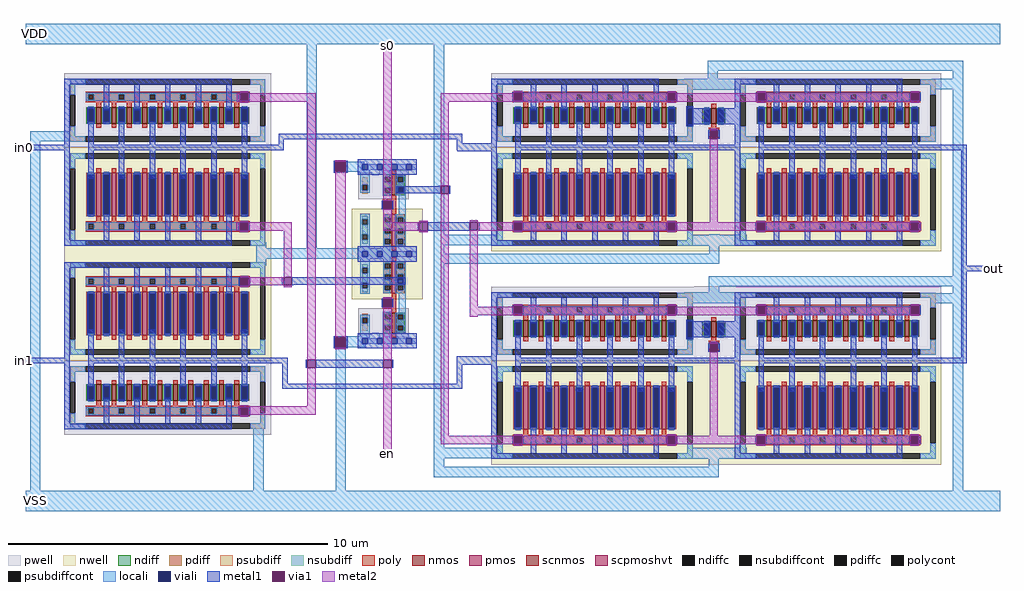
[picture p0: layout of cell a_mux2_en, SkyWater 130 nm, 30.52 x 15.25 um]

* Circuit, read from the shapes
.subckt a_mux2_en en s0 in0 in1 out VDD VSS
XM1 in1 en switch_5t_mux2_0/in VSS sky130_fd_pr__nfet_01v8 w=0.52 l=0.15 m=10
XM2 in0 en switch_5t_mux2_1/in VSS sky130_fd_pr__nfet_01v8 w=0.52 l=0.15 m=10
XM3 sky130_fd_sc_hd__inv_1_0/Y en VSS VSS sky130_fd_pr__nfet_01v8 w=0.65 l=0.15
XM4 sky130_fd_sc_hd__inv_1_1/Y s0 VSS VSS sky130_fd_pr__nfet_01v8 w=0.65 l=0.15
XM5 switch_5t_mux2_0/in s0 switch_5t_mux2_0/transmission_gate_1/in VSS sky130_fd_pr__nfet_01v8 w=0.52 l=0.15 m=10
XM6 switch_5t_mux2_1/in sky130_fd_sc_hd__inv_1_1/Y switch_5t_mux2_1/transmission_gate_1/in VSS sky130_fd_pr__nfet_01v8 w=0.52 l=0.15 m=10
XM7 switch_5t_mux2_0/transmission_gate_1/in sky130_fd_sc_hd__inv_1_1/Y VSS VSS sky130_fd_pr__nfet_01v8 w=0.5 l=0.15
XM8 switch_5t_mux2_1/transmission_gate_1/in s0 VSS VSS sky130_fd_pr__nfet_01v8 w=0.5 l=0.15
XM9 switch_5t_mux2_0/transmission_gate_1/in s0 out VSS sky130_fd_pr__nfet_01v8 w=0.52 l=0.15 m=10
XM10 switch_5t_mux2_1/transmission_gate_1/in sky130_fd_sc_hd__inv_1_1/Y out VSS sky130_fd_pr__nfet_01v8 w=0.52 l=0.15 m=10
XM11 in1 sky130_fd_sc_hd__inv_1_0/Y switch_5t_mux2_0/in VDD sky130_fd_pr__pfet_01v8 w=1.36 l=0.15 m=10
XM12 in0 sky130_fd_sc_hd__inv_1_0/Y switch_5t_mux2_1/in VDD sky130_fd_pr__pfet_01v8 w=1.36 l=0.15 m=10
XM13 sky130_fd_sc_hd__inv_1_0/Y en VDD VDD sky130_fd_pr__pfet_01v8_hvt w=1 l=0.15
XM14 sky130_fd_sc_hd__inv_1_1/Y s0 VDD VDD sky130_fd_pr__pfet_01v8_hvt w=1 l=0.15
XM15 switch_5t_mux2_0/in sky130_fd_sc_hd__inv_1_1/Y switch_5t_mux2_0/transmission_gate_1/in VDD sky130_fd_pr__pfet_01v8 w=1.36 l=0.15 m=10
XM16 switch_5t_mux2_1/in s0 switch_5t_mux2_1/transmission_gate_1/in VDD sky130_fd_pr__pfet_01v8 w=1.36 l=0.15 m=10
XM17 switch_5t_mux2_0/transmission_gate_1/in sky130_fd_sc_hd__inv_1_1/Y out VDD sky130_fd_pr__pfet_01v8 w=1.36 l=0.15 m=10
XM18 switch_5t_mux2_1/transmission_gate_1/in s0 out VDD sky130_fd_pr__pfet_01v8 w=1.36 l=0.15 m=10
.ends

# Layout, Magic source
magic
tech sky130A
magscale 1 2
<< nwell >>
rect -2386 -1234 -1092 -1157
<< pwell >>
rect -528 -702 -409 -700
rect -548 -855 -231 -702
rect -548 -1692 -405 -1537
rect -548 -1693 -429 -1692
<< locali >>
rect -2626 115 3466 243
rect -2599 -493 -2335 -429
rect -2599 -2678 -2535 -493
rect -1186 -1162 -1122 -1123
rect -870 -1162 -806 115
rect -626 -684 -510 -620
rect -74 -1077 -10 115
rect 1637 -51 3236 13
rect 1637 -169 1701 -51
rect 3172 -102 3236 -51
rect 3038 -166 3236 -102
rect -74 -1141 348 -1077
rect -1186 -1226 -371 -1162
rect -74 -1195 -10 -1141
rect 1647 -1195 1711 -1074
rect -1186 -1269 -1122 -1226
rect -74 -1259 1711 -1195
rect -697 -1718 -501 -1710
rect -697 -1779 -690 -1718
rect -626 -1779 -501 -1718
rect -626 -1782 -625 -1779
rect -1204 -2678 -1140 -2268
rect -689 -2678 -625 -1782
rect -74 -2410 -10 -1259
rect 3172 -1336 3236 -166
rect 1645 -1400 3236 -1336
rect 1645 -1488 1709 -1400
rect 3172 -1442 3236 -1400
rect 3034 -1506 3236 -1442
rect -74 -2474 334 -2410
rect -74 -2529 -10 -2474
rect 1643 -2529 1707 -2423
rect -74 -2593 1707 -2529
rect 3172 -2678 3236 -1506
rect -2626 -2806 3466 -2678
<< viali >>
rect -1276 -231 -1242 -197
rect -1276 -1042 -1242 -1008
rect -690 -684 -626 -620
rect -298 -812 -264 -778
rect -381 -907 -347 -873
rect -1276 -1386 -1242 -1352
rect -299 -1382 -265 -1348
rect -382 -1520 -348 -1486
rect -690 -1782 -626 -1718
rect -1276 -2197 -1242 -2163
<< metal1 >>
rect -1297 -240 -1287 -188
rect -1235 -240 -1225 -188
rect -1046 -479 104 -445
rect -1046 -513 -1012 -479
rect -2638 -547 -2375 -513
rect -1271 -547 -1012 -513
rect 70 -503 104 -479
rect 70 -547 296 -503
rect 3055 -547 3258 -513
rect 71 -555 296 -547
rect -702 -620 -614 -614
rect -702 -684 -690 -620
rect -626 -684 -614 -620
rect -702 -690 -614 -684
rect -528 -700 -522 -604
rect -43 -772 -33 -769
rect -310 -778 -33 -772
rect -310 -812 -298 -778
rect -264 -812 -33 -778
rect -310 -818 -33 -812
rect -43 -821 -33 -818
rect 19 -821 29 -769
rect -401 -917 -391 -865
rect -339 -917 -329 -865
rect 139 -1000 149 -997
rect -1298 -1052 -1288 -1000
rect -1236 -1052 -1226 -1000
rect -176 -1052 -166 -1000
rect -114 -1049 149 -1000
rect 201 -1049 211 -997
rect -114 -1052 198 -1049
rect 3224 -1270 3258 -547
rect 3224 -1304 3429 -1270
rect -1295 -1395 -1285 -1343
rect -1233 -1395 -1223 -1343
rect -1025 -1394 -1015 -1342
rect -963 -1348 -253 -1342
rect -963 -1382 -299 -1348
rect -265 -1382 -253 -1348
rect -963 -1388 -253 -1382
rect -963 -1394 -953 -1388
rect -401 -1530 -391 -1478
rect -339 -1530 -329 -1478
rect -702 -1718 -614 -1712
rect -702 -1782 -690 -1718
rect -626 -1782 -614 -1718
rect -702 -1788 -614 -1782
rect -2638 -1881 -2375 -1847
rect -1272 -1881 -989 -1847
rect -1023 -2007 -989 -1881
rect -875 -1910 -865 -1858
rect -813 -1910 -390 -1858
rect -338 -1910 -328 -1858
rect 69 -1889 303 -1837
rect 3224 -1847 3258 -1304
rect 3052 -1881 3258 -1847
rect 69 -2007 103 -1889
rect -1023 -2041 103 -2007
rect -1296 -2206 -1286 -2154
rect -1234 -2206 -1224 -2154
<< via1 >>
rect -1287 -197 -1235 -188
rect -1287 -231 -1276 -197
rect -1276 -231 -1242 -197
rect -1242 -231 -1235 -197
rect -1287 -240 -1235 -231
rect -690 -684 -626 -620
rect -33 -821 19 -769
rect -391 -873 -339 -865
rect -391 -907 -381 -873
rect -381 -907 -347 -873
rect -347 -907 -339 -873
rect -391 -917 -339 -907
rect -1288 -1008 -1236 -1000
rect -1288 -1042 -1276 -1008
rect -1276 -1042 -1242 -1008
rect -1242 -1042 -1236 -1008
rect -1288 -1052 -1236 -1042
rect -166 -1052 -114 -1000
rect 149 -1049 201 -997
rect -1285 -1352 -1233 -1343
rect -1285 -1386 -1276 -1352
rect -1276 -1386 -1242 -1352
rect -1242 -1386 -1233 -1352
rect -1285 -1395 -1233 -1386
rect -1015 -1394 -963 -1342
rect -391 -1486 -339 -1478
rect -391 -1520 -382 -1486
rect -382 -1520 -348 -1486
rect -348 -1520 -339 -1486
rect -391 -1530 -339 -1520
rect -690 -1782 -626 -1718
rect -865 -1910 -813 -1858
rect -390 -1910 -338 -1858
rect -1286 -2163 -1234 -2154
rect -1286 -2197 -1276 -2163
rect -1276 -2197 -1242 -2163
rect -1242 -2197 -1234 -2163
rect -1286 -2206 -1234 -2197
<< metal2 >>
rect -1287 -188 -1235 -178
rect -1306 -240 -1287 -192
rect -1235 -240 -813 -192
rect -1306 -244 -813 -240
rect -1287 -250 -1235 -244
rect -1288 -1000 -1236 -990
rect -1312 -1052 -1288 -1000
rect -1236 -1052 -963 -1000
rect -1288 -1062 -1236 -1052
rect -1285 -1342 -1233 -1333
rect -1015 -1342 -963 -1052
rect -1285 -1343 -1015 -1342
rect -1233 -1394 -1015 -1343
rect -1285 -1405 -1233 -1395
rect -1015 -1404 -963 -1394
rect -865 -1858 -813 -244
rect -690 -620 -626 -610
rect -690 -1718 -626 -684
rect -391 -865 -339 115
rect -391 -1000 -339 -917
rect -33 -245 261 -193
rect -33 -769 19 -245
rect -166 -1000 -114 -990
rect -391 -1052 -166 -1000
rect -166 -1062 -114 -1052
rect -690 -1792 -626 -1782
rect -391 -1478 -339 -1468
rect -1286 -2149 -1234 -2144
rect -865 -2149 -813 -1910
rect -1297 -2154 -813 -2149
rect -1297 -2201 -1286 -2154
rect -1234 -2201 -813 -2154
rect -391 -1848 -339 -1530
rect -391 -1858 -338 -1848
rect -391 -1910 -390 -1858
rect -391 -1920 -338 -1910
rect -1286 -2216 -1234 -2206
rect -391 -2457 -339 -1920
rect -33 -2334 19 -821
rect 149 -997 201 -987
rect 201 -1049 259 -1000
rect 149 -1052 259 -1049
rect 149 -1527 201 -1052
rect 149 -1579 305 -1527
rect 149 -1589 201 -1579
rect -33 -2386 261 -2334
use sky130_fd_sc_hd__inv_1  sky130_fd_sc_hd__inv_1_0 $PDKPATH/libs.ref/sky130_fd_sc_hd/mag
transform 1 0 -459 0 1 -1740
box -38 -48 314 592
use sky130_fd_sc_hd__inv_1  sky130_fd_sc_hd__inv_1_1
transform 1 0 -459 0 -1 -652
box -38 -48 314 592
use sky130_fd_sc_hd__tapvpwrvgnd_1  sky130_fd_sc_hd__tapvpwrvgnd_1_0 $PDKPATH/libs.ref/sky130_fd_sc_hd/mag
transform 1 0 -551 0 1 -1740
box -38 -48 130 592
use sky130_fd_sc_hd__tapvpwrvgnd_1  sky130_fd_sc_hd__tapvpwrvgnd_1_1
transform -1 0 -459 0 -1 -652
box -38 -48 130 592
use switch_5t_mux2  switch_5t_mux2_0
transform 1 0 123 0 -1 -1396
box 92 4 2977 1118
use switch_5t_mux2  switch_5t_mux2_1
transform 1 0 123 0 -1 -62
box 92 4 2977 1118
use transmission_gate  transmission_gate_0 ~/ee372/incremental_delta_sigma_adc/design/analog_modulator/layout_v2/transmission_gate
transform 1 0 -2333 0 -1 -117
box -53 -49 1241 1063
use transmission_gate  transmission_gate_1
transform 1 0 -2333 0 1 -2277
box -53 -49 1241 1063
<< labels >>
flabel metal1 -2635 -530 -2635 -530 3 FreeSans 400 0 0 0 in0
port 3 e
flabel metal1 -2634 -1864 -2634 -1864 3 FreeSans 400 0 0 0 in1
port 4 e
flabel metal2 -365 -2445 -365 -2445 1 FreeSans 400 0 0 0 en
port 1 n
flabel metal1 3423 -1288 3423 -1288 1 FreeSans 400 0 0 0 out
port 5 n
flabel metal2 -366 110 -366 110 5 FreeSans 400 0 0 0 s0
port 2 s
flabel locali -2575 182 -2575 182 1 FreeSans 400 0 0 0 VDD
port 6 n power bidirectional
flabel locali -2569 -2738 -2569 -2738 1 FreeSans 400 0 0 0 VSS
port 7 n power bidirectional
<< end >>

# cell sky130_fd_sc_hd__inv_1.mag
magic
tech sky130A
magscale 1 2
<< nwell >>
rect -38 261 314 582
<< pwell >>
rect 42 21 228 203
rect 42 17 63 21
rect 29 -17 63 17
<< scnmos >>
rect 120 47 150 177
<< scpmoshvt >>
rect 120 297 150 497
<< ndiff >>
rect 68 165 120 177
rect 68 131 76 165
rect 110 131 120 165
rect 68 97 120 131
rect 68 63 76 97
rect 110 63 120 97
rect 68 47 120 63
rect 150 165 202 177
rect 150 131 160 165
rect 194 131 202 165
rect 150 97 202 131
rect 150 63 160 97
rect 194 63 202 97
rect 150 47 202 63
<< pdiff >>
rect 68 485 120 497
rect 68 451 76 485
rect 110 451 120 485
rect 68 417 120 451
rect 68 383 76 417
rect 110 383 120 417
rect 68 349 120 383
rect 68 315 76 349
rect 110 315 120 349
rect 68 297 120 315
rect 150 485 202 497
rect 150 451 160 485
rect 194 451 202 485
rect 150 417 202 451
rect 150 383 160 417
rect 194 383 202 417
rect 150 349 202 383
rect 150 315 160 349
rect 194 315 202 349
rect 150 297 202 315
<< ndiffc >>
rect 76 131 110 165
rect 76 63 110 97
rect 160 131 194 165
rect 160 63 194 97
<< pdiffc >>
rect 76 451 110 485
rect 76 383 110 417
rect 76 315 110 349
rect 160 451 194 485
rect 160 383 194 417
rect 160 315 194 349
<< poly >>
rect 120 497 150 523
rect 120 265 150 297
rect 64 249 150 265
rect 64 215 80 249
rect 114 215 150 249
rect 64 199 150 215
rect 120 177 150 199
rect 120 21 150 47
<< polycont >>
rect 80 215 114 249
<< locali >>
rect 0 527 29 561
rect 63 527 121 561
rect 155 527 213 561
rect 247 527 276 561
rect 68 485 110 527
rect 68 451 76 485
rect 68 417 110 451
rect 68 383 76 417
rect 68 349 110 383
rect 68 315 76 349
rect 68 299 110 315
rect 144 485 210 493
rect 144 451 160 485
rect 194 451 210 485
rect 144 417 210 451
rect 144 383 160 417
rect 194 383 210 417
rect 144 349 210 383
rect 144 315 160 349
rect 194 315 210 349
rect 144 297 210 315
rect 64 249 130 263
rect 64 215 80 249
rect 114 215 130 249
rect 64 165 110 181
rect 164 177 210 297
rect 64 131 76 165
rect 64 97 110 131
rect 64 63 76 97
rect 64 17 110 63
rect 144 165 210 177
rect 144 131 160 165
rect 194 131 210 165
rect 144 97 210 131
rect 144 63 160 97
rect 194 63 210 97
rect 144 51 210 63
rect 0 -17 29 17
rect 63 -17 121 17
rect 155 -17 213 17
rect 247 -17 276 17
<< viali >>
rect 29 527 63 561
rect 121 527 155 561
rect 213 527 247 561
rect 29 -17 63 17
rect 121 -17 155 17
rect 213 -17 247 17
<< metal1 >>
rect 0 561 276 592
rect 0 527 29 561
rect 63 527 121 561
rect 155 527 213 561
rect 247 527 276 561
rect 0 496 276 527
rect 0 17 276 48
rect 0 -17 29 17
rect 63 -17 121 17
rect 155 -17 213 17
rect 247 -17 276 17
rect 0 -48 276 -17
<< labels >>
flabel locali s 164 289 198 323 0 FreeSans 340 0 0 0 Y
port 6 nsew signal output
flabel locali s 164 221 198 255 0 FreeSans 340 0 0 0 Y
port 6 nsew signal output
flabel locali s 72 221 106 255 0 FreeSans 340 0 0 0 A
port 1 nsew signal input
flabel nwell s 29 527 63 561 0 FreeSans 200 0 0 0 VPB
port 4 nsew power bidirectional
flabel pwell s 29 -17 63 17 0 FreeSans 200 0 0 0 VNB
port 3 nsew ground bidirectional
flabel metal1 s 29 -17 63 17 0 FreeSans 200 0 0 0 VGND
port 2 nsew ground bidirectional abutment
flabel metal1 s 29 527 63 561 0 FreeSans 200 0 0 0 VPWR
port 5 nsew power bidirectional abutment
rlabel comment s 0 0 0 0 4 inv_1
rlabel metal1 s 0 -48 276 48 1 VGND
port 2 nsew ground bidirectional abutment
rlabel metal1 s 0 496 276 592 1 VPWR
port 5 nsew power bidirectional abutment
<< properties >>
string FIXED_BBOX 0 0 276 544
string GDS_END 2228044
string GDS_FILE $PDKPATH/libs.ref/sky130_fd_sc_hd/gds/sky130_fd_sc_hd.gds
string GDS_START 2224550
string LEFclass CORE
string LEFsite unithd
string LEFsymmetry X Y R90
string path 0.000 0.000 6.900 0.000 
<< end >>

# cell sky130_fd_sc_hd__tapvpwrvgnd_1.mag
magic
tech sky130A
magscale 1 2
<< nwell >>
rect -38 261 130 582
<< pwell >>
rect 3 38 89 195
<< psubdiff >>
rect 29 145 63 169
rect 29 64 63 111
<< nsubdiff >>
rect 29 456 63 480
rect 29 363 63 422
rect 29 305 63 329
<< psubdiffcont >>
rect 29 111 63 145
<< nsubdiffcont >>
rect 29 422 63 456
rect 29 329 63 363
<< locali >>
rect 0 527 29 561
rect 63 527 92 561
rect 17 456 75 527
rect 17 422 29 456
rect 63 422 75 456
rect 17 363 75 422
rect 17 329 29 363
rect 63 329 75 363
rect 17 294 75 329
rect 17 145 75 162
rect 17 111 29 145
rect 63 111 75 145
rect 17 17 75 111
rect 0 -17 29 17
rect 63 -17 92 17
<< viali >>
rect 29 527 63 561
rect 29 -17 63 17
<< metal1 >>
rect 0 561 92 592
rect 0 527 29 561
rect 63 527 92 561
rect 0 496 92 527
rect 0 17 92 48
rect 0 -17 29 17
rect 63 -17 92 17
rect 0 -48 92 -17
<< labels >>
flabel metal1 s 22 524 75 553 0 FreeSans 200 0 0 0 VPWR
port 2 nsew power bidirectional abutment
flabel metal1 s 21 -18 72 20 0 FreeSans 200 0 0 0 VGND
port 1 nsew ground bidirectional abutment
rlabel comment s 0 0 0 0 4 tapvpwrvgnd_1
rlabel metal1 s 0 -48 92 48 1 VGND
port 1 nsew ground bidirectional abutment
rlabel metal1 s 0 496 92 592 1 VPWR
port 2 nsew power bidirectional abutment
<< properties >>
string FIXED_BBOX 0 0 92 544
string GDS_END 507276
string GDS_FILE $PDKPATH/libs.ref/sky130_fd_sc_hd/gds/sky130_fd_sc_hd.gds
string GDS_START 505656
string LEFclass CORE WELLTAP
string LEFsite unithd
string LEFsymmetry X Y R90
string MASKHINTS_PSDM 0 38 92 195
string MASKHINTS_NSDM 0 279 92 506
<< end >>

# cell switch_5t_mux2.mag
magic
tech sky130A
magscale 1 2
<< nwell >>
rect 1443 906 1802 1118
rect 1427 468 1802 906
<< pwell >>
rect 1430 323 1686 468
rect 1380 239 1686 323
rect 1430 4 1686 239
<< locali >>
rect 1386 1048 1767 1082
rect 1386 1014 1759 1048
rect 1386 74 1753 108
rect 1368 40 1766 74
<< viali >>
rect 312 946 346 980
rect 1272 946 1306 980
rect 1833 946 1867 980
rect 2793 946 2827 980
rect 1386 223 1420 323
rect 312 135 346 169
rect 1272 135 1306 169
rect 1833 135 1867 169
rect 2793 135 2827 169
<< metal1 >>
rect 293 937 303 989
rect 355 937 365 989
rect 1252 938 1262 990
rect 1314 938 1324 990
rect 1813 938 1823 990
rect 1875 938 1885 990
rect 2773 938 2783 990
rect 2835 938 2845 990
rect 92 441 187 493
rect 1153 451 1717 485
rect 2759 451 2942 485
rect 1517 361 1527 413
rect 1579 361 1589 413
rect 1380 323 1426 335
rect 1380 223 1386 323
rect 1420 223 1526 323
rect 1580 246 1683 323
rect 1580 239 1695 246
rect 1603 223 1695 239
rect 1380 211 1426 223
rect 292 124 302 176
rect 354 124 364 176
rect 1254 126 1264 178
rect 1316 126 1326 178
rect 1815 126 1825 178
rect 1877 126 1887 178
rect 2775 126 2785 178
rect 2837 126 2847 178
<< via1 >>
rect 303 980 355 989
rect 303 946 312 980
rect 312 946 346 980
rect 346 946 355 980
rect 303 937 355 946
rect 1262 980 1314 990
rect 1262 946 1272 980
rect 1272 946 1306 980
rect 1306 946 1314 980
rect 1262 938 1314 946
rect 1823 980 1875 990
rect 1823 946 1833 980
rect 1833 946 1867 980
rect 1867 946 1875 980
rect 1823 938 1875 946
rect 2783 980 2835 990
rect 2783 946 2793 980
rect 2793 946 2827 980
rect 2827 946 2835 980
rect 2783 938 2835 946
rect 1527 361 1579 413
rect 302 169 354 176
rect 302 135 312 169
rect 312 135 346 169
rect 346 135 354 169
rect 302 124 354 135
rect 1264 169 1316 178
rect 1264 135 1272 169
rect 1272 135 1306 169
rect 1306 135 1316 169
rect 1264 126 1316 135
rect 1825 169 1877 178
rect 1825 135 1833 169
rect 1833 135 1867 169
rect 1867 135 1877 169
rect 1825 126 1877 135
rect 2785 169 2837 178
rect 2785 135 2793 169
rect 2793 135 2827 169
rect 2827 135 2837 169
rect 2785 126 2837 135
<< metal2 >>
rect 303 990 355 999
rect 1262 990 1314 1000
rect 1823 990 1875 1000
rect 2783 990 2835 1000
rect 101 989 1262 990
rect 101 938 303 989
rect 355 938 1262 989
rect 1314 938 1823 990
rect 1875 938 2783 990
rect 2835 938 2849 990
rect 303 927 355 937
rect 1262 928 1314 938
rect 1527 413 1579 938
rect 1823 928 1875 938
rect 2783 928 2835 938
rect 1527 351 1579 361
rect 302 183 354 186
rect 394 183 460 185
rect 1264 183 1316 188
rect 1825 183 1877 188
rect 2785 183 2837 188
rect 92 178 2837 183
rect 92 176 1264 178
rect 92 131 302 176
rect 354 131 1264 176
rect 302 114 354 124
rect 394 119 460 131
rect 1316 131 1825 178
rect 1264 116 1316 126
rect 1877 131 2785 178
rect 1825 116 1877 126
rect 2785 116 2837 126
use nmos_PDN_mux2  nmos_PDN_mux2_0
transform 1 0 1553 0 1 312
box -73 -116 73 98
use transmission_gate  transmission_gate_0 ~/ee372/incremental_delta_sigma_adc/design/analog_modulator/layout_v2/transmission_gate
transform 1 0 215 0 1 55
box -53 -49 1241 1063
use transmission_gate  transmission_gate_1
transform 1 0 1736 0 1 55
box -53 -49 1241 1063
<< labels >>
flabel locali 1553 1056 1553 1056 1 FreeSans 400 0 0 0 VDD
port 5 n power bidirectional
flabel locali 1553 66 1553 66 1 FreeSans 400 0 0 0 VSS
port 6 n ground bidirectional
flabel metal1 114 469 114 469 1 FreeSans 400 0 0 0 in
port 1 n
flabel metal2 120 965 120 965 1 FreeSans 400 0 0 0 en_b
port 4 n
flabel metal2 114 158 114 158 1 FreeSans 400 0 0 0 en
port 3 n
flabel metal1 2927 465 2927 465 1 FreeSans 400 0 0 0 out
port 2 n
<< end >>

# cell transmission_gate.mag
magic
tech sky130A
magscale 1 2
<< locali >>
rect 1171 993 1205 1027
rect 81 883 97 933
rect 81 72 97 122
rect 1171 -13 1205 19
<< metal1 >>
rect -53 993 995 1027
rect -53 19 -19 993
rect 193 832 227 993
rect 385 832 419 993
rect 577 832 611 993
rect 769 832 803 993
rect 961 832 995 993
rect 97 430 131 608
rect 289 430 323 608
rect 481 430 515 608
rect 673 430 707 608
rect 865 430 899 608
rect 1057 430 1091 608
rect 97 396 1091 430
rect 97 253 131 396
rect 289 253 323 396
rect 481 253 515 396
rect 673 253 707 396
rect 865 253 899 396
rect 1057 253 1091 396
rect 193 19 227 180
rect 385 19 419 180
rect 577 19 611 180
rect 769 19 803 180
rect 961 19 995 180
rect -53 -15 995 19
use nmos_tgate  nmos_tgate_0
transform 1 0 593 0 1 213
box -646 -262 648 200
use pmos_tgate  pmos_tgate_0
transform -1 0 595 0 -1 707
box -646 -356 648 294
<< labels >>
flabel locali 1188 2 1188 2 1 FreeSans 400 0 0 0 VSS
port 6 n ground bidirectional
flabel locali 1188 1010 1188 1010 1 FreeSans 400 0 0 0 VDD
port 5 n power bidirectional
flabel metal1 -34 410 -34 410 1 FreeSans 400 0 0 0 in
port 1 n
flabel metal1 1074 412 1074 412 1 FreeSans 400 0 0 0 out
port 2 n
flabel locali 88 98 88 98 1 FreeSans 400 0 0 0 en
port 3 n
flabel locali 88 910 88 910 1 FreeSans 400 0 0 0 en_b
port 4 n
<< end >>

# cell nmos_tgate: kit device sky130_fd_pr__nfet_01v8, w 0.53 l 0.150 m 1 nf 10 diffcov 100 polycov 100 guard 1 glc 1 grc 1 gtc 1 gbc 1 tbcov 100 rlcov 100 topc 1 botc 1 poverlap 0 doverlap 1 lmin 0.15 wmin 0.42 compatible {sky130_fd_pr__nfet_01v8 sky130_fd_pr__nfet_01v8_lvt sky130_fd_bs_flash__special_sonosfet_star sky130_fd_pr__nfet_g5v0d10v5 sky130_fd_pr__nfet_05v0_nvt sky130_fd_pr__nfet_03v3_nvt} full_metal 1 viasrc 100 viadrn 100 viagate 100 viagb 0 viagr 0 viagl 0 viagt 0

# cell pmos_tgate: kit device sky130_fd_pr__pfet_01v8, w 1.37 l 0.15 m 1 nf 10 diffcov 100 polycov 100 guard 1 glc 1 grc 1 gtc 1 gbc 1 tbcov 100 rlcov 100 topc 1 botc 1 poverlap 0 doverlap 1 lmin 0.15 wmin 0.42 compatible {sky130_fd_pr__pfet_01v8 sky130_fd_pr__pfet_01v8_lvt sky130_fd_pr__pfet_01v8_hvt sky130_fd_pr__pfet_g5v0d10v5} full_metal 1 viasrc 100 viadrn 100 viagate 100 viagb 0 viagr 0 viagl 0 viagt 0

# cell nmos_PDN_mux2: kit device sky130_fd_pr__nfet_01v8, w 0.420 l 0.150 m 1 nf 1 diffcov 100 polycov 100 guard 0 glc 0 grc 0 gtc 0 gbc 0 tbcov 100 rlcov 100 topc 1 botc 0 poverlap 0 doverlap 1 lmin 0.15 wmin 0.42 compatible {sky130_fd_pr__nfet_01v8 sky130_fd_pr__nfet_01v8_lvt sky130_fd_bs_flash__special_sonosfet_star sky130_fd_pr__nfet_g5v0d10v5 sky130_fd_pr__nfet_05v0_nvt sky130_fd_pr__nfet_03v3_nvt} full_metal 0 viasrc 100 viadrn 100 viagate 100 viagb 0 viagr 0 viagl 0 viagt 0
